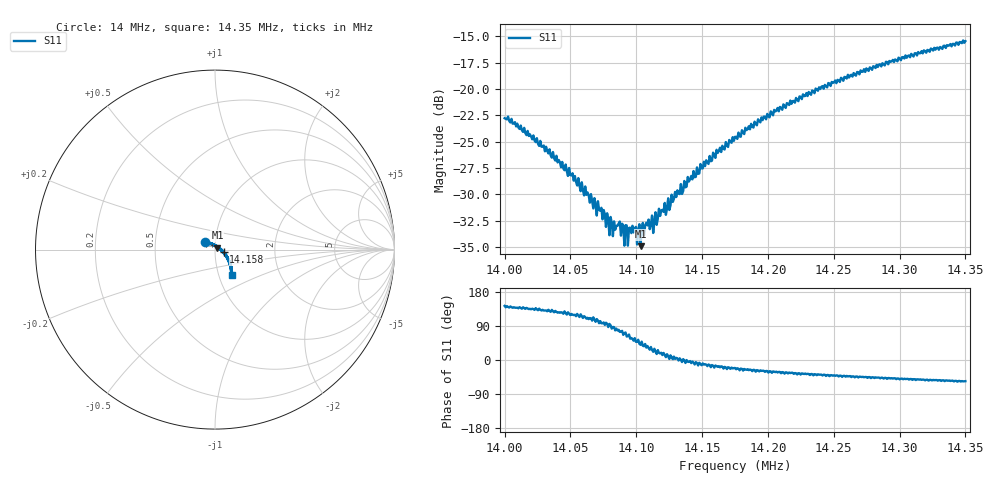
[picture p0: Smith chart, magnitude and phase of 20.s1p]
# Hz S RI R 50
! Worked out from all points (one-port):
!   401 points, 14 MHz to 14.35 MHz, reference 50 ohm
!   lowest |S11| = -34.9 dB at 14.103 MHz (marker M1), VSWR 1.04, Z = 51.4 + j1.19 ohm
!   |S11| at or under -10 dB: start of sweep to end of sweep
!   S11 on the Smith chart (normalised r, x): 14 MHz: 0.89, +0.08; 14.158 MHz: 1.10, -0.03; 14.35 MHz: 1.16, -0.33
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1.4e7  -0.0578 0.044
1.402362e7  -0.0408 0.0382
1.404375e7  -0.0259 0.0369
1.405775e7  -0.0167 0.0282
1.406825e7  -0.00892 0.029
1.407438e7  -0.00295 0.0239
1.4077e7  -0.00322 0.0219
1.407788e7  -0.00251 0.0256
1.407962e7  -0.00185 0.0201
1.40805e7  -0.000738 0.0247
1.40875e7  0.00641 0.0226
1.409275e7  0.0106 0.0198
1.409362e7  0.00818 0.0161
1.4098e7  0.0131 0.0162
1.410238e7  0.0167 0.0155
1.410325e7  0.0137 0.0116
1.4105e7  0.0183 0.0141
1.410588e7  0.0163 0.012
1.411462e7  0.0242 0.00959
1.41155e7  0.0218 0.00617
1.412425e7  0.0298 0.0052
1.413125e7  0.033 0.00258
1.415838e7  0.0482 -0.0129
1.4175e7  0.0553 -0.0213
1.421875e7  0.0729 -0.0485
1.42625e7  0.0856 -0.0782
1.430625e7  0.0928 -0.1093
1.435e7  0.0946 -0.1395
